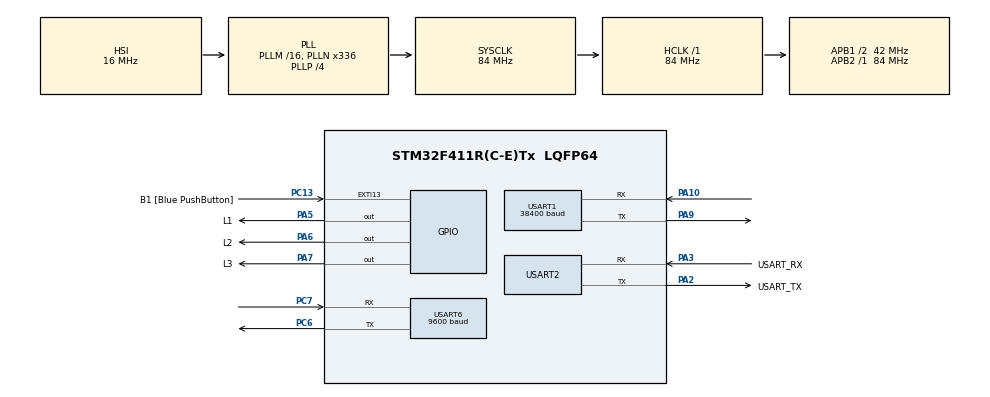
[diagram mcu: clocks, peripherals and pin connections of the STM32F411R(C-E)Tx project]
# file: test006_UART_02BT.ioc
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Mcu.Family=STM32F4
Mcu.Name=STM32F411R(C-E)Tx
Mcu.Package=LQFP64
NVIC.EXTI15_10_IRQn=true\:0\:0\:false\:false\:true\:true\:true\:true
NVIC.PriorityGroup=NVIC_PRIORITYGROUP_0
NVIC.USART2_IRQn=true\:0\:0\:false\:false\:true\:true\:true\:true
NVIC.USART6_IRQn=true\:0\:0\:false\:false\:true\:true\:true\:true
PA10.Mode=Asynchronous
PA10.Signal=USART1_RX
PA13.GPIO_Label=TMS
PA13.Mode=Serial_Wire
PA13.Signal=SYS_JTMS-SWDIO
PA14.GPIO_Label=TCK
PA14.Mode=Serial_Wire
PA14.Signal=SYS_JTCK-SWCLK
PA2.GPIO_Label=USART_TX
PA2.Mode=Asynchronous
PA2.Signal=USART2_TX
PA3.GPIO_Label=USART_RX
PA3.Mode=Asynchronous
PA3.Signal=USART2_RX
PA5.GPIO_Label=L1
PA5.Signal=GPIO_Output
PA6.GPIO_Label=L2
PA6.Signal=GPIO_Output
PA7.GPIO_Label=L3
PA7.Signal=GPIO_Output
PA9.Mode=Asynchronous
PA9.Signal=USART1_TX
PB3.GPIO_Label=SWO
PB3.Signal=SYS_JTDO-SWO
PC13-ANTI_TAMP.GPIO_Label=B1 [Blue PushButton]
PC13-ANTI_TAMP.GPIO_ModeDefaultEXTI=GPIO_MODE_IT_FALLING
PC13-ANTI_TAMP.Signal=GPXTI13
PC14-OSC32_IN.Mode=LSE-External-Oscillator
PC14-OSC32_IN.Signal=RCC_OSC32_IN
PC15-OSC32_OUT.Mode=LSE-External-Oscillator
PC15-OSC32_OUT.Signal=RCC_OSC32_OUT
PC6.Mode=Asynchronous
PC6.Signal=USART6_TX
PC7.Mode=Asynchronous
PC7.Signal=USART6_RX
PH0\ -\ OSC_IN.Mode=HSE-External-Clock-Source
PH0\ -\ OSC_IN.Signal=RCC_OSC_IN
PH1\ -\ OSC_OUT.Mode=HSE-External-Clock-Source
PH1\ -\ OSC_OUT.Signal=RCC_OSC_OUT
ProjectManager.HeapSize=0x200
ProjectManager.StackSize=0x400
ProjectManager.TargetToolchain=STM32CubeIDE
RCC.48MHZClocksFreq_Value=84000000
RCC.AHBFreq_Value=84000000
RCC.APB1CLKDivider=RCC_HCLK_DIV2
RCC.APB1Freq_Value=42000000
RCC.APB1TimFreq_Value=84000000
RCC.APB2Freq_Value=84000000
RCC.APB2TimFreq_Value=84000000
RCC.CortexFreq_Value=84000000
RCC.FLatency-AdvancedSettings=FLASH_LATENCY_2
RCC.HCLKFreq_Value=84000000
RCC.HSE_VALUE=8000000
RCC.HSI_VALUE=16000000
RCC.PLLN=336
RCC.PLLP=RCC_PLLP_DIV4
RCC.SYSCLKFreq_VALUE=84000000
RCC.SYSCLKSource=RCC_SYSCLKSOURCE_PLLCLK
RCC.VCOOutputFreq_Value=336000000
USART1.BaudRate=38400
USART1.VirtualMode=VM_ASYNC
USART2.VirtualMode=VM_ASYNC
USART6.BaudRate=9600
USART6.VirtualMode=VM_ASYNC
board=NUCLEO-F411RE

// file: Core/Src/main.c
/* USER CODE BEGIN Header */
/**
  ******************************************************************************
  * @file           : main.c
  * @brief          : Main program body
  ******************************************************************************
  * @attention
  *
  * Copyright (c) 2024 STMicroelectronics.
  * All rights reserved.
  *
  * This software is licensed under terms that can be found in the LICENSE file
  * in the root directory of this software component.
  * If no LICENSE file comes with this software, it is provided AS-IS.
  *
  ******************************************************************************
  */
/* USER CODE END Header */
#include "main.h"

/* USER CODE BEGIN Includes */
#include <stdio.h>
#include "myLib.h"
/* USER CODE END Includes */

UART_HandleTypeDef huart1;
UART_HandleTypeDef huart2;
UART_HandleTypeDef huart6;

void SystemClock_Config(void);
static void MX_GPIO_Init(void);
static void MX_USART2_UART_Init(void);
static void MX_USART6_UART_Init(void);
static void MX_USART1_UART_Init(void);

/* USER CODE BEGIN 0 */
void HAL_GPIO_EXTI_Callback(uint16_t GPIO_Pin)
{

}
//extern myBuffer Buf;//data buffer
extern myCMDSET myCmd[];
myBuffer *Buf1,*Buf2;//null pointer
//myBuffer Buf1,Buf2;
char dum1, dum2;
int idx1 = 0, idx2 = 0;
int eol = 0;
void HAL_UART_RxCpltCallback(UART_HandleTypeDef *huart)
{
	if(huart == &huart6) // address of handle
	{
		Buf1->v0[idx1++] = dum1;
		HAL_UART_Receive_IT(&huart6,&dum1,1);//(UART_HandleTypeDef *huart, uint8_t *pData, uint16_t Size)

	}
	else if(huart == &huart2) // KD input by Putty
	{
		if(dum2  == '\r') // [Enter] Key
		{
			HAL_UART_Transmit(&huart2,"\r\n",2,10); //Echo, send putty
			HAL_UART_Transmit(&huart6,Buf2,idx2,100);// redireciton to BT, take long sentence long waiting time
			switch(eol)
			{
			case 1:
				HAL_UART_Transmit(&huart6,"\r\n",2,10); // CRLF
				break;
			case 2:
				HAL_UART_Transmit(&huart6,"\n",1,10); // CR
				break;
			case 3:
				HAL_UART_Transmit(&huart6,"\0",1,10); // NULL
				break;
			case 4:
				//HAL_UART_Transmit(&huart6,"\0",1,10); // NONE
				break;
			}

			idx2 = 0;
		}
		else
		{
			HAL_UART_Transmit(&huart2,&dum2,1,10);//UART_HandleTypeDef *huart, const uint8_t *pData, uint16_t Size, uint32_t Timeout)// Echo
			Buf2->v0[idx2++] = dum2;
			Buf2->v0[idx2] = 0; //Null
		}
		HAL_UART_Receive_IT(&huart2,&dum2,1);//(UART_HandleTypeDef *huart, uint8_t *pData, uint16_t Size)
	}
}
/*
char* Trim(char *s) // delete white_space("SPC \t \r \n left/right) "    ABC     " ==> "ABC"
{
	int h = 0, t = strlen(s)-1;//head, tail
	if(t<0) return NULL;
	while(*(s+h) == ' ' || *(s+h) == '\t' || *(s+h) == '\r' || *(s+h) == '\n') h++;
	while(*(s+t) == ' ' || *(s+t) == '\t' || *(s+t) == '\r' || *(s+t) == '\n') t--;

	//if(h==0, t == strlen(s)-1) return (s);//consider change
	char *ret = (char *)malloc(t-h+1+1);
	memcpy(ret,s+h, t-h +1); ret[t-h+1] = 0;//memcopy cannot copy NULL // memcopy-> count 1-start ret[t-h+1] count 0-start
	return ret;
	/*
	while(1)
	{
		if(*(s+h) == ' ' || *(s+h) == '\t') h++;//
		else break;
	}
	///
}
*/
/*
int myStrncmp(char *s1, char *s2, int n)// 0 or 1 (true or false)
{
	for(int i = 0 ; i < n ; i++)
	{
		//if(*(s1+i)|0x20 != *(s2+i)| 0x20) return 1; // not working properly in priorities
		if(((*(s1+i))|0x20) != ((*(s2+i))| 0x20)) return 1; // 0b0010 0000 //not exactly
	}
	return 0;
}
int myStrlen(char *s)//length to white space
{
	int i;

	//for(i=0;*(s+i);i++); return i;

	for(i=0;;i++)
	{
		if(*(s+i) == 0 || *(s+i) == ' ' || *(s+i) == '\t' || *(s+i) == '\r' || *(s+i) == '\n') return i;//break;
	}
	return -1;

	//return strlen(s)-1;
}
int CheckCMD(char* s)// *s = "   LED   1    ON    " ===> *b "LED   1    ON"
{
	int ret = 0;
	char *b = Trim(s), *c = NULL;
	if(*b == NULL)return 0;
	for(int i =0; myCmd[i].key; i++)
	{

		if(myStrncmp(b, myCmd[i].key, myStrlen(myCmd[i].key)) == 0)
		{
			for(int j = 0; ;j++)
			{
				int idx = myStrlen(b);//NULL included
				if(c) free(c);
				c = Trim(b + idx);//*c "LED   1    ON" *c = "1    ON"
				free(b); b = c;
				if(myStrlen(c) == 0){ret = 1; break;}

//				int n = myCmd[i].op_no;
//				while(*c){if(*c == ' ')n--; c++;}//full array search and count space' '
//				if(n == 0) return 1; else return 0;//not matched number of options
			}

		}
	}
	return ret;
}

//char p0[10],p1[10],p2[10];//pre-assigned memory
int Parsing(char* s, char* p[])//**P *s = "LED 1 ON" ===> "LED\01\0on" ret v = 3
//default split and judge
//divide and rule
//
//space -> NULL replace
{

/*
//	if(!CheckCMD(b)) return 0;
//	int n = 0; // index of p
//	p[n++] = b;

//	for(int i = 0; b[i] != 0 ;i++)//b[i] != 0 ==> 0->true
//	{
//		if(b[i] == ' ' )
//		{
			//memcpy(p0,b,i);

//			b[i] = 0; // '\0'
//			p[n++] = b+ i +1;
//		}
//	}
//	return n;
*/
/*
	//while(*b) { if(*b == ' ') { *b = '\0'; p[n++] = ++b; } }
	//p is declared in main.c don't concern it
	int ret = 0;
	char *b = Trim(s), *c = NULL;//front and back white space removed

	if(*b == NULL)return 0;
	for(int i =0;myCmd[i].key;i++)
	{

		if(myStrncmp(b, myCmd[i].key, myStrlen(myCmd[i].key)) == 0)
		{

			for(int j = 0; ;j++)
			{
				p[j]=b;
				int idx = myStrlen(b);//NULL included function
				if(strlen(b) == idx){ret = j; break;}//strlen is to '\0' mystrlen is to whitespace
				*(b+idx) = 0;//"LED " ==> "LED\0"
				//if(c) free(c);			   __
				c = Trim(b + idx + 1);//*c "LED   1    ON" *c = "1    ON"
				//free(b);
				b = c;
				if(myStrlen(c) == 0){ret = j; break;}

//				int n = myCmd[i].op_no;
//				while(*c){if(*c == ' ')n--; c++;}//full array search and count space' '
//				if(n == 0) return 1; else return 0;//not matched number of options
			}

		}
	}
	return ret;
}
*/
char* p[5]; //pointer array
/*
void LED_Control()
{
  int ln,st;
  sscanf(p[1],"%d",&ln);
  //if(strcmp(p[2],"ON") == 0) st = 1;else st = 0;
  st = (myStrncmp(p[2],"ON",2) == 0) ? 1 : (myStrncmp(p[2],"OFF",3) == 0) ? 0 : -1;
  switch(ln)
  {
  case 1:
	  HAL_GPIO_WritePin(L1_GPIO_Port,L1_Pin,st);break;
  case 2:
	  HAL_GPIO_WritePin(L2_GPIO_Port,L2_Pin,st);break;
  case 3:
	  HAL_GPIO_WritePin(L3_GPIO_Port,L3_Pin,st);break;
  }
  printf("%s %d had controlled to %d\r\n",p[0],ln, st);

}
*/
/* USER CODE END 0 */

int main(void)
{

  /* USER CODE BEGIN 1 */
	myBuffer b1, b2;// not cleared
	Buf1 = &b1,Buf2 = &b2;
  /* USER CODE END 1 */

  /* MCU Configuration--------------------------------------------------------*/

  /* Reset of all peripherals, Initializes the Flash interface and the Systick. */
  HAL_Init();

  /* Configure the system clock */
  SystemClock_Config();

  /* Initialize all configured peripherals */
  MX_GPIO_Init();
  MX_USART2_UART_Init();
  MX_USART6_UART_Init();
  MX_USART1_UART_Init();
  /* USER CODE BEGIN 2 */
  ProgramStart("UART - Bluetooth"); Cursor(1);
  printf("Select EOL \r\n 1:CRLF \r\n 2:LF\r\n 3:NULL\r\n 4:NONE\r\n");
  setvbuf(stdin, NULL, _IONBF, 0); // buffer clear
  scanf("%d",&eol);

  char *t1 = "   Test string   ";
  char *t2 = Trim(t1);
  printf("Before :Trim([%s]) = [%s]\r\n",t1,t2); free(t2);//free(ptr addr);
  printf("After :Trim([%s]) = [%s]\r\n",t1,t2);//free(ptr addr);
  printf("your select is %d. \r\n",eol);
  //Wait();
  HAL_UART_Receive_IT(&huart6, &dum1, 1);
  HAL_UART_Receive_IT(&huart2, &dum2, 1);
  /* USER CODE END 2 */

  /* Infinite loop */
  /* USER CODE BEGIN WHILE */
  //int i = 0;
  while (1)
  {
    /* USER CODE END WHILE */

    /* USER CODE BEGIN 3 */
	  if(idx1)
	  {

		  //Buf1.v0[idx1] = 0;//NULL
		  Buf1->v0[idx1] = 0;
		  printf("%s\r\n", Buf1);
		  //	LED 1	On ==> Parsing(Buf1) => ret : 3 (no. of string)
		  //char a1[10], a2[5], a3[5];//array for return value
		  //char* p[5]; //pointer array
		  int r = Parsing(Buf1, p);// return val : 1:cmd 2:op1 3:op2

		  if(r > 0)
		  {
			  printf("Parsing --->	[%s]	[%s]	[%s] \r\n",p[0],p[1],p[2]);
			  if(myStrncmp(p[0], "LED", 3) == 0) LED_Control();
			  //else if(myStrncmp(p[0],"MOTOR",5) MOTOR_Control();
			  //else if(myStrncmp(p[0],"BUZZER",6) BUZZER_Control();
			  /*
			  if(myStrncmp(p[0], "LED", 3) == 0)
			  {
				  int ln,st;
				  sscanf(p[1],"%d",&ln);
				  //if(strcmp(p[2],"ON") == 0) st = 1;else st = 0;
				  st = (myStrncmp(p[2],"ON",2) == 0) ? 1 : (myStrncmp(p[2],"OFF",3) == 0) ? 0 : -1;
				  switch(ln)
				  {
				  case 1:
					  HAL_GPIO_WritePin(L1_GPIO_Port,L1_Pin,st);break;
				  case 2:
					  HAL_GPIO_WritePin(L2_GPIO_Port,L2_Pin,st);break;
				  case 3:
					  HAL_GPIO_WritePin(L3_GPIO_Port,L3_Pin,st);break;
				  }
				  printf("%s %d had controlled to %d\r\n",p[0],ln, st);
			  }*/
		  }
		  idx1=0;
/*
		  if(r != 0)
		  {

		  }
		  */

		  /*
		  if(strncmp(Buf1, "LED",3) == 0)// -1 0 1 => 0 or Not
		  {//strcmp + count n
			  HAL_GPIO_WritePin(LED_GPIO_Port, LED_Pin,1); //PA5
			  //HAL_Delay(500); //500ms
			  HAL_GPIO_WritePin(LD2_GPIO_Port, LD2_Pin,1); //PA5
			  //HAL_Delay(500); //500ms;
		  }
		  else if (strncmp(Buf1,"OFF",3) == 0)
		  {
			  HAL_GPIO_WritePin(LED_GPIO_Port, LED_Pin,0);
			  HAL_GPIO_WritePin(LD2_GPIO_Port, LD2_Pin,0);
		  }
		  */

		  //printf("%s\r\n", Buf1);

	  }
	  HAL_Delay(1000);
	  /*
	  for(i=0;i<5;i++)
	  {
		  printf("test break");
		  if(i == 2) break;
	  }*/
  }
  /* USER CODE END 3 */
}

void SystemClock_Config(void)
{
  RCC_OscInitTypeDef RCC_OscInitStruct = {0};
  RCC_ClkInitTypeDef RCC_ClkInitStruct = {0};

  /** Configure the main internal regulator output voltage
  */
  __HAL_RCC_PWR_CLK_ENABLE();
  __HAL_PWR_VOLTAGESCALING_CONFIG(PWR_REGULATOR_VOLTAGE_SCALE1);

  /** Initializes the RCC Oscillators according to the specified parameters
  * in the RCC_OscInitTypeDef structure.
  */
  RCC_OscInitStruct.OscillatorType = RCC_OSCILLATORTYPE_HSI;
  RCC_OscInitStruct.HSIState = RCC_HSI_ON;
  RCC_OscInitStruct.HSICalibrationValue = RCC_HSICALIBRATION_DEFAULT;
  RCC_OscInitStruct.PLL.PLLState = RCC_PLL_ON;
  RCC_OscInitStruct.PLL.PLLSource = RCC_PLLSOURCE_HSI;
  RCC_OscInitStruct.PLL.PLLM = 16;
  RCC_OscInitStruct.PLL.PLLN = 336;
  RCC_OscInitStruct.PLL.PLLP = RCC_PLLP_DIV4;
  RCC_OscInitStruct.PLL.PLLQ = 4;
  if (HAL_RCC_OscConfig(&RCC_OscInitStruct) != HAL_OK)
  {
    Error_Handler();
  }

  /** Initializes the CPU, AHB and APB buses clocks
  */
  RCC_ClkInitStruct.ClockType = RCC_CLOCKTYPE_HCLK|RCC_CLOCKTYPE_SYSCLK
                              |RCC_CLOCKTYPE_PCLK1|RCC_CLOCKTYPE_PCLK2;
  RCC_ClkInitStruct.SYSCLKSource = RCC_SYSCLKSOURCE_PLLCLK;
  RCC_ClkInitStruct.AHBCLKDivider = RCC_SYSCLK_DIV1;
  RCC_ClkInitStruct.APB1CLKDivider = RCC_HCLK_DIV2;
  RCC_ClkInitStruct.APB2CLKDivider = RCC_HCLK_DIV1;

  if (HAL_RCC_ClockConfig(&RCC_ClkInitStruct, FLASH_LATENCY_2) != HAL_OK)
  {
    Error_Handler();
  }
}

static void MX_USART1_UART_Init(void)
{

  huart1.Instance = USART1;
  huart1.Init.BaudRate = 38400;
  huart1.Init.WordLength = UART_WORDLENGTH_8B;
  huart1.Init.StopBits = UART_STOPBITS_1;
  huart1.Init.Parity = UART_PARITY_NONE;
  huart1.Init.Mode = UART_MODE_TX_RX;
  huart1.Init.HwFlowCtl = UART_HWCONTROL_NONE;
  huart1.Init.OverSampling = UART_OVERSAMPLING_16;
  if (HAL_UART_Init(&huart1) != HAL_OK)
  {
    Error_Handler();
  }

}

static void MX_USART2_UART_Init(void)
{

  huart2.Instance = USART2;
  huart2.Init.BaudRate = 115200;
  huart2.Init.WordLength = UART_WORDLENGTH_8B;
  huart2.Init.StopBits = UART_STOPBITS_1;
  huart2.Init.Parity = UART_PARITY_NONE;
  huart2.Init.Mode = UART_MODE_TX_RX;
  huart2.Init.HwFlowCtl = UART_HWCONTROL_NONE;
  huart2.Init.OverSampling = UART_OVERSAMPLING_16;
  if (HAL_UART_Init(&huart2) != HAL_OK)
  {
    Error_Handler();
  }

}

static void MX_USART6_UART_Init(void)
{

  huart6.Instance = USART6;
  huart6.Init.BaudRate = 9600;
  huart6.Init.WordLength = UART_WORDLENGTH_8B;
  huart6.Init.StopBits = UART_STOPBITS_1;
  huart6.Init.Parity = UART_PARITY_NONE;
  huart6.Init.Mode = UART_MODE_TX_RX;
  huart6.Init.HwFlowCtl = UART_HWCONTROL_NONE;
  huart6.Init.OverSampling = UART_OVERSAMPLING_16;
  if (HAL_UART_Init(&huart6) != HAL_OK)
  {
    Error_Handler();
  }

}

static void MX_GPIO_Init(void)
{
  GPIO_InitTypeDef GPIO_InitStruct = {0};

  /* GPIO Ports Clock Enable */
  __HAL_RCC_GPIOC_CLK_ENABLE();
  __HAL_RCC_GPIOH_CLK_ENABLE();
  __HAL_RCC_GPIOA_CLK_ENABLE();
  __HAL_RCC_GPIOB_CLK_ENABLE();

  /*Configure GPIO pin Output Level */
  HAL_GPIO_WritePin(GPIOA, L1_Pin|L2_Pin|L3_Pin, GPIO_PIN_RESET);

  /*Configure GPIO pin : B1_Pin */
  GPIO_InitStruct.Pin = B1_Pin;
  GPIO_InitStruct.Mode = GPIO_MODE_IT_FALLING;
  GPIO_InitStruct.Pull = GPIO_NOPULL;
  HAL_GPIO_Init(B1_GPIO_Port, &GPIO_InitStruct);

  /*Configure GPIO pins : L1_Pin L2_Pin L3_Pin */
  GPIO_InitStruct.Pin = L1_Pin|L2_Pin|L3_Pin;
  GPIO_InitStruct.Mode = GPIO_MODE_OUTPUT_PP;
  GPIO_InitStruct.Pull = GPIO_NOPULL;
  GPIO_InitStruct.Speed = GPIO_SPEED_FREQ_LOW;
  HAL_GPIO_Init(GPIOA, &GPIO_InitStruct);

  /* EXTI interrupt init*/
  HAL_NVIC_SetPriority(EXTI15_10_IRQn, 0, 0);
  HAL_NVIC_EnableIRQ(EXTI15_10_IRQn);

}

void Error_Handler(void)
{
  __disable_irq();
  while (1)
  {
  }
}
